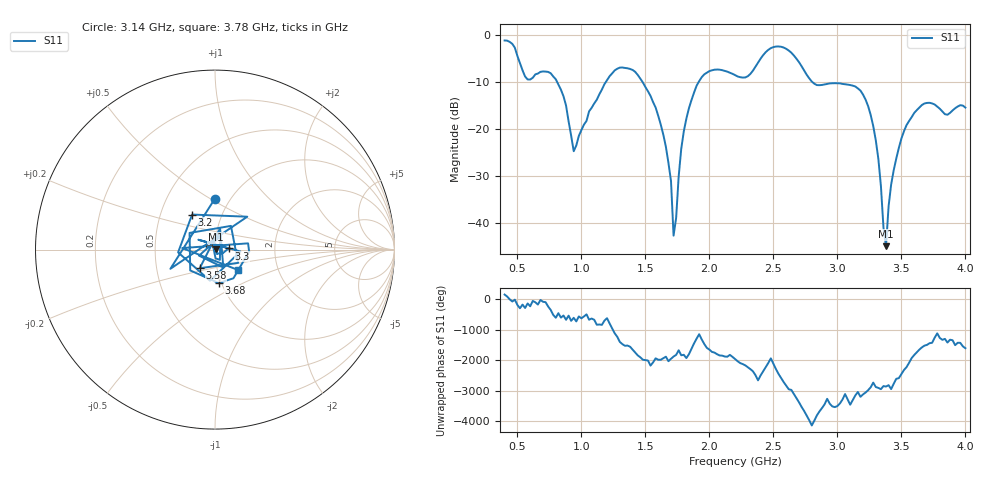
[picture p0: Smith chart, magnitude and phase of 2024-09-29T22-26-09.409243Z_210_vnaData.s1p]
!Created with skrf (http://scikit-rf.org).
# Hz S RI R 50.0
!freq ReS11 ImS11
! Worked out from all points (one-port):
!   181 points, 400 MHz to 4 GHz, reference 50 ohm
!   lowest |S11| = -44.8 dB at 3.38 GHz (marker M1), VSWR 1.01, Z = 50.5 + j0.206 ohm
!   |S11| at or under -10 dB: 810.7 MHz to 1.191 GHz (380.1 MHz wide, 38 % of centre); 1.478 GHz to 1.916 GHz (438.2 MHz wide, 25.8 % of centre); 2.805 GHz to end of sweep
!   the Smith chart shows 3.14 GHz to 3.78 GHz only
!   S11 on the Smith chart (normalised r, x): 3.14 GHz: 0.85, +0.52; 3.2 GHz: 0.72, +0.30; 3.3 GHz: 1.16, +0.02; 3.58 GHz: 0.83, -0.17; 3.68 GHz: 0.97, -0.37; 3.78 GHz: 1.26, -0.30
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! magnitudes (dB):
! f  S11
! 400 MHz  -1.2
! 580 MHz  -9.5
! 740 MHz  -7.8
! 860 MHz  -13.0
! 940 MHz  -24.7
! 1.3 GHz  -6.9
! 1.58 GHz  -15.4
! 1.7 GHz  -31.0
! 1.72 GHz  -42.6
! 1.76 GHz  -30.0
! 1.8 GHz  -20.5
! 1.9 GHz  -10.8
! 2.2 GHz  -8.5
! 2.5 GHz  -2.6
! 2.66 GHz  -4.4
! 2.84 GHz  -10.6
! 3.1 GHz  -10.6
! 3.14 GHz  -10.9
! 3.2 GHz  -12.6
! 3.3 GHz  -22.4
! 3.38 GHz  -44.8
! 3.4 GHz  -36.3
! 3.44 GHz  -28.7
! 3.56 GHz  -18.3
! 3.58 GHz  -17.4
! 3.68 GHz  -14.5
! 3.78 GHz  -15.2
! 4 GHz  -15.4
